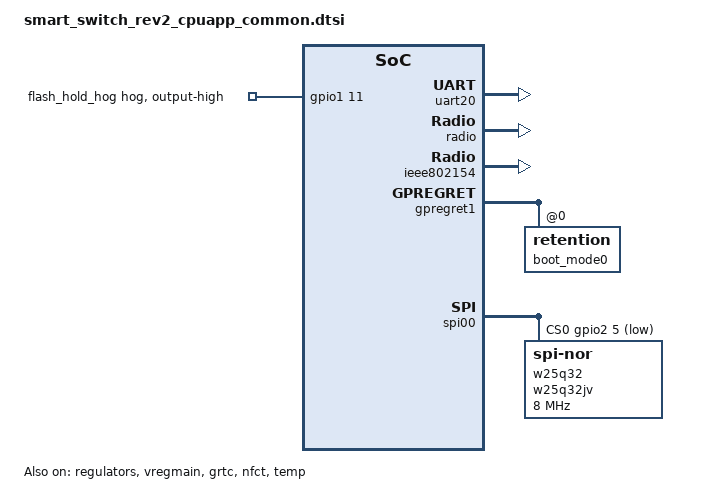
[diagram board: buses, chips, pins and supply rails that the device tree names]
/*
 * Copyright (c) 2024 Nordic Semiconductor ASA
 *
 * SPDX-License-Identifier: Apache-2.0
 */

/* This file is common to the secure and non-secure domain */

#include "smart_switch_rev2_common.dtsi"

/ {
	chosen {
		zephyr,console = &uart20;
		zephyr,shell-uart = &uart20;
		zephyr,uart-mcumgr = &uart20;
		zephyr,bt-mon-uart = &uart20;
		zephyr,bt-c2h-uart = &uart20;
		zephyr,flash-controller = &rram_controller;
		zephyr,flash = &cpuapp_rram;
		zephyr,ieee802154 = &ieee802154;
		zephyr,boot-mode = &boot_mode0;
	};

	aliases {
		mcuboot-button0 = &button0;
	};
};

&cpuapp_sram {
	status = "okay";
};

/* rev2 fits a real 32.768 kHz crystal (Y1, no external load caps), so LFXO is the
 * low-frequency clock source - unlike rev1, which had to run from LFRC.
 * TODO: check Y1's datasheet load capacitance; 7 pF is the nRF54L15 DK value.
 */
&lfxo {
	load-capacitors = "internal";
	load-capacitance-femtofarad = <7000>;
};

/* The 32 MHz crystal is inside the NORA-B206 module.
 * TODO: confirm the load capacitance u-blox specifies for NORA-B20 (17 pF is the DK value).
 */
&hfxo {
	load-capacitors = "internal";
	load-capacitance-femtofarad = <17000>;
};

&regulators {
	status = "okay";
};

&vregmain {
	status = "okay";
	regulator-initial-mode = <NRF5X_REG_MODE_DCDC>;
};

&grtc {
	owned-channels = <0 1 2 3 4 5 6 7 8 9 10 11>;
	/* Channels 7-11 reserved for Zero Latency IRQs, 3-4 for FLPR */
	child-owned-channels = <3 4 7 8 9 10 11>;
	status = "okay";
};

&uart20 {
	status = "okay";
};

&nfct {
	status = "okay";
};

&gpio0 {
	status = "okay";
};

&gpio1 {
	status = "okay";

	/* FLASH_RST: U2 pin 7 (/HOLD or /RESET, active low) has no pull-up on the board.
	 * Drive it high from GPIO init (before the SPI NOR driver probes), in every image
	 * built for this board, so the flash never floats into hold/reset.
	 */
	flash_hold_hog: flash-hold-hog {
		gpio-hog;
		gpios = <11 GPIO_ACTIVE_HIGH>;
		output-high;
	};
};

&gpio2 {
	status = "okay";
};

&gpiote20 {
	status = "okay";
};

&gpiote30 {
	status = "okay";
};

&radio {
	status = "okay";
};

&ieee802154 {
	status = "okay";
};

&temp {
	status = "okay";
};

&clock {
	status = "okay";
};

&gpregret1 {
	status = "okay";

	boot_mode0: boot_mode@0 {
		compatible = "zephyr,retention";
		status = "okay";
		reg = <0x0 0x1>;
	};
};

/* External flash: U2, Winbond W25Q32JV, 32 Mbit / 4 MB, plain single-line SPI.
 * SPIM00 shares its peripheral instance with UARTE00 - free on rev2, since the
 * console moved to UARTE20.
 */
&spi00 {
	status = "okay";
	cs-gpios = <&gpio2 5 GPIO_ACTIVE_LOW>;
	pinctrl-0 = <&spi00_default>;
	pinctrl-1 = <&spi00_sleep>;
	pinctrl-names = "default", "sleep";

	w25q32: w25q32jv@0 {
		compatible = "jedec,spi-nor";
		status = "okay";
		reg = <0>;
		spi-max-frequency = <8000000>;
		jedec-id = [ef 40 16];
		size = <33554432>; /* in bits */
		has-dpd;
		t-enter-dpd = <3000>;
		t-exit-dpd = <30000>;
	};
};
